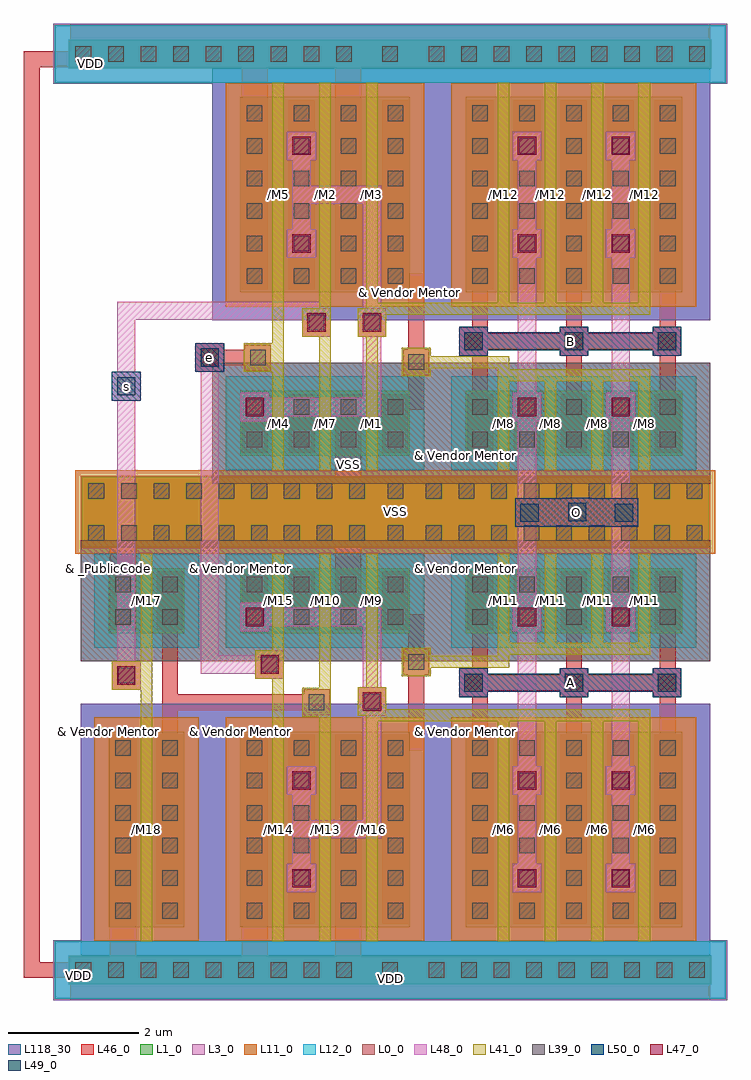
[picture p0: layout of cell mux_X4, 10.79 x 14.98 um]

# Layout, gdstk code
import gdstk
lib = gdstk.Library(unit=1e-6, precision=1e-09)
def R(c, l, rs):  # rectangles x0, y0, x1, y1
    for r in rs: c.add(gdstk.rectangle(r[:2], r[2:], *l))
def A(c, l, x, y, w, h, nx, ny, dx, dy):  # array of equal rectangles
    R(c, l, [(x+i*dx, y+j*dy, x+i*dx+w, y+j*dy+h) for i in range(nx) for j in range(ny)])
def P(c, l, *ps):  # polygons
    for p in ps: c.add(gdstk.Polygon(p, *l))
L0_0 = (0, 0)
L1_0 = (1, 0)
L3_0 = (3, 0)
L11_0 = (11, 0)
L12_0 = (12, 0)
L39_0 = (39, 0)
L41_0 = (41, 0)
L46_0 = (46, 0)
L47_0 = (47, 0)
L48_0 = (48, 0)
L49_0 = (49, 0)
L50_0 = (50, 0)
L118_30 = (118, 30)

m2m3 = lib.new_cell('M2M3')
R(m2m3, L48_0, [(-0.22,-0.22,0.22,0.22)])
R(m2m3, L49_0, [(-0.14,-0.14,0.14,0.14)])
R(m2m3, L50_0, [(-0.22,-0.22,0.22,0.22)])

m1m2 = lib.new_cell('M1M2')
R(m1m2, L46_0, [(-0.22,-0.22,0.22,0.22)])
R(m1m2, L47_0, [(-0.14,-0.14,0.14,0.14)])
R(m1m2, L48_0, [(-0.22,-0.22,0.22,0.22)])

mpoly = lib.new_cell('MPOLY')
R(mpoly, L39_0, [(-0.12,-0.12,0.12,0.12)])
R(mpoly, L41_0, [(-0.22,-0.22,0.22,0.22)])
R(mpoly, L46_0, [(-0.2,-0.2,0.2,0.2)])

mux_x4 = lib.new_cell('mux_X4')
R(mux_x4, L0_0, [(11.61,-2.33,13.63,-0.47), (13.63,-2.33,17.09,-0.47), (17.09,-2.33,21.27,-0.47), (13.63,0.39,17.09,2.25), (17.09,0.39,21.27,2.25)])
R(mux_x4, L1_0, [(11.43,-7.29,21.29,-6.85), (12.04,-6.41,13.2,-3.41), (12.04,-6.41,12.53,-3.41), (12.71,-6.41,13.2,-3.41), (14.06,-6.41,14.55,-3.41), (14.06,-6.41,16.66,-3.41), (16.17,-6.41,16.66,-3.41), (17.52,-6.41,18.01,-3.41), (17.52,-6.41,20.84,-3.41), (20.35,-6.41,20.84,-3.41), (12.04,-1.9,12.53,-0.9), (12.04,-1.9,13.2,-0.9), (12.71,-1.9,13.2,-0.9), (14.06,-1.9,16.66,-0.9), (14.06,-1.9,14.55,-0.9), (16.17,-1.9,16.66,-0.9), (17.52,-1.9,18.01,-0.9), (17.52,-1.9,20.84,-0.9), (20.35,-1.9,20.84,-0.9), (11.63,-0.58,21.25,-0.14), (11.63,-0.14,21.25,0.06), (11.63,0.06,21.25,0.5), (14.06,0.82,16.66,1.82), (14.06,0.82,14.55,1.82), (16.17,0.82,16.66,1.82), (17.52,0.82,18.01,1.82), (17.52,0.82,20.84,1.82), (20.35,0.82,20.84,1.82), (14.06,3.33,14.55,6.33), (14.06,3.33,16.66,6.33), (16.17,3.33,16.66,6.33), (17.52,3.33,18.01,6.33), (17.52,3.33,20.84,6.33), (20.35,3.33,20.84,6.33), (11.43,6.77,21.29,7.21)])
R(mux_x4, L3_0, [(11.19,-7.53,21.53,-6.61), (11.61,-6.84,13.63,-2.98), (13.63,-6.84,17.09,-2.98), (17.09,-6.84,21.27,-2.98), (13.63,2.9,17.09,6.76), (17.09,2.9,21.27,6.76), (11.19,6.53,21.53,7.45)])
R(mux_x4, L11_0, [(11.82,-6.63,13.42,-3.19), (13.84,-6.63,16.88,-3.19), (17.3,-6.63,21.06,-3.19), (11.53,-0.68,21.35,-0.04), (11.53,-0.04,21.35,0.6), (13.84,3.11,16.88,6.55), (17.3,3.11,21.06,6.55)])
R(mux_x4, L12_0, [(11.21,-7.51,21.51,-6.63), (11.82,-2.12,13.42,-0.68), (13.84,-2.12,16.88,-0.68), (17.3,-2.12,21.06,-0.68), (13.84,0.6,16.88,2.04), (17.3,0.6,21.06,2.04), (11.21,6.55,21.51,7.43)])
A(mux_x4, L39_0, 11.53, -7.19, 0.24, 0.24, 9, 2, 0.5, 14.06)
A(mux_x4, L39_0, 16.95, -7.19, 0.24, 0.24, 9, 2, 0.5, 14.06)
A(mux_x4, L39_0, 12.14, -6.28, 0.24, 0.24, 1, 6, 0, 0.5)
A(mux_x4, L39_0, 12.86, -6.28, 0.24, 0.24, 1, 6, 0, 0.5)
A(mux_x4, L39_0, 14.16, -6.28, 0.24, 0.24, 4, 6, 0.72, 0.5)
A(mux_x4, L39_0, 17.62, -6.28, 0.24, 0.24, 5, 6, 0.72, 0.5)
A(mux_x4, L39_0, 14.16, -1.77, 0.24, 0.24, 4, 2, 0.72, 0.5)
A(mux_x4, L39_0, 17.62, -1.77, 0.24, 0.24, 5, 2, 0.72, 0.5)
A(mux_x4, L39_0, 11.73, -0.48, 0.24, 0.24, 9, 2, 0.5, 0.64)
A(mux_x4, L39_0, 16.91, -0.48, 0.24, 0.24, 9, 2, 0.5, 0.64)
A(mux_x4, L39_0, 14.16, 0.95, 0.24, 0.24, 4, 2, 0.72, 0.5)
A(mux_x4, L39_0, 17.62, 0.95, 0.24, 0.24, 5, 2, 0.72, 0.5)
A(mux_x4, L39_0, 14.16, 3.46, 0.24, 0.24, 4, 6, 0.72, 0.5)
A(mux_x4, L39_0, 17.62, 3.46, 0.24, 0.24, 5, 6, 0.72, 0.5)
R(mux_x4, L39_0, [(16.24,-7.19,16.48,-6.95), (12.14,-1.77,12.38,-1.53), (12.86,-1.77,13.1,-1.53), (12.14,-1.27,12.38,-1.03), (12.86,-1.27,13.1,-1.03), (16.32,-0.48,16.56,-0.24), (16.32,0.16,16.56,0.4), (16.24,6.87,16.48,7.11)])
A(mux_x4, L41_0, 14.55, -6.63, 0.18, 0.22, 3, 2, 0.72, 3.22)
A(mux_x4, L41_0, 18.01, -6.63, 0.18, 0.22, 4, 2, 0.72, 3.22)
A(mux_x4, L41_0, 14.55, -6.41, 0.18, 3, 3, 2, 0.72, 9.74)
A(mux_x4, L41_0, 18.01, -6.41, 0.18, 3, 4, 2, 0.72, 9.74)
A(mux_x4, L41_0, 14.55, -2.12, 0.18, 0.22, 3, 2, 0.72, 1.22)
A(mux_x4, L41_0, 18.01, -2.12, 0.18, 0.22, 4, 2, 0.72, 1.22)
A(mux_x4, L41_0, 14.55, -1.9, 0.18, 1, 3, 2, 0.72, 2.72)
A(mux_x4, L41_0, 18.01, -1.9, 0.18, 1, 4, 2, 0.72, 2.72)
A(mux_x4, L41_0, 14.55, 0.6, 0.18, 0.22, 3, 2, 0.72, 1.22)
A(mux_x4, L41_0, 18.01, 0.6, 0.18, 0.22, 4, 2, 0.72, 1.22)
A(mux_x4, L41_0, 14.55, 3.11, 0.18, 0.22, 3, 2, 0.72, 3.22)
A(mux_x4, L41_0, 18.01, 3.11, 0.18, 0.22, 4, 2, 0.72, 3.22)
R(mux_x4, L41_0, [(12.53,-6.63,12.71,-6.41), (12.53,-6.41,12.71,-3.41), (12.53,-3.41,12.71,-3.19), (12.53,-3.37,12.71,-1.94), (14.55,-3.37,14.73,-1.94), (15.27,-3.37,15.45,-1.94), (15.99,-3.37,16.17,-3.07), (12.53,-2.12,12.71,-1.9), (12.53,-1.9,12.71,-0.9), (12.53,-0.9,12.71,-0.68), (14.55,1.86,14.73,3.29), (15.27,1.86,15.45,3.29), (15.99,2.99,16.17,3.29)])
P(mux_x4, L41_0, [(15.99,-3.25),(18.01,-3.25),(18.01,-3.37),(18.19,-3.37),(18.19,-3.25),(18.73,-3.25),(18.73,-3.37),(18.91,-3.37),(18.91,-3.25),(19.45,-3.25),(19.45,-3.37),(19.63,-3.37),(19.63,-3.25),(20.17,-3.25),(20.17,-3.37),(20.35,-3.37),(20.35,-3.07),(16.17,-3.07),(16.17,-1.94),(15.99,-1.94)],
  [(18.01,1.86),(18.19,1.86),(18.19,1.97),(18.73,1.97),(18.73,1.86),(18.91,1.86),(18.91,1.97),(19.45,1.97),(19.45,1.86),(19.63,1.86),(19.63,1.97),(20.17,1.97),(20.17,1.86),(20.35,1.86),(20.35,2.15),(18.01,2.15)],
  [(15.99,1.86),(16.17,1.86),(16.17,2.99),(20.35,2.99),(20.35,3.29),(20.17,3.29),(20.17,3.17),(19.63,3.17),(19.63,3.29),(19.45,3.29),(19.45,3.17),(18.91,3.17),(18.91,3.29),(18.73,3.29),(18.73,3.17),(18.19,3.17),(18.19,3.29),(18.01,3.29),(18.01,3.17),(15.99,3.17)],
  [(16.67,2.17),(18.01,2.17),(18.01,1.97),(18.19,1.97),(18.19,2.35),(16.67,2.35)],
  [(16.67,-2.43),(18.19,-2.43),(18.19,-2.23),(20.35,-2.23),(20.35,-1.94),(20.17,-1.94),(20.17,-2.05),(19.63,-2.05),(19.63,-1.94),(19.45,-1.94),(19.45,-2.05),(18.91,-2.05),(18.91,-1.94),(18.73,-1.94),(18.73,-2.05),(18.19,-2.05),(18.19,-1.94),(18.01,-1.94),(18.01,-2.25),(16.67,-2.25)])
A(mux_x4, L46_0, 14.08, -6.36, 0.4, 2.9, 4, 2, 0.72, 9.74)
A(mux_x4, L46_0, 17.54, -6.36, 0.4, 2.9, 5, 2, 0.72, 9.74)
A(mux_x4, L46_0, 14.08, -1.85, 0.4, 0.9, 4, 2, 0.72, 2.72)
A(mux_x4, L46_0, 17.54, -1.85, 0.4, 0.9, 5, 2, 0.72, 2.72)
R(mux_x4, L46_0, [(11.45,-7.53,21.27,-6.87), (11.45,-7.27,21.27,-6.87), (12.06,-7.27,12.46,-5.96), (14.08,-7.27,14.48,-5.96), (15.52,-7.27,15.92,-5.96), (12.06,-6.36,12.46,-3.46), (12.78,-6.36,13.18,-3.46), (12.06,-1.85,12.46,-0.95), (12.78,-1.85,13.18,-0.95), (12.06,-1.35,12.46,-0.2), (15.52,-1.35,15.92,-0.2), (11.61,-0.6,21.27,-0.12), (11.61,-0.6,21.27,0.52), (11.61,0.04,21.27,0.52), (15.52,0.12,15.92,1.27), (13.47,2.21,14.45,2.45), (14.08,5.88,14.48,7.19), (15.52,5.88,15.92,7.19), (11.45,6.79,21.27,7.19), (11.45,6.79,21.27,7.45)])
P(mux_x4, L46_0, [(16.4,-1.85),(16.64,-1.85),(16.64,-3.46),(16.4,-3.46),(16.4,-3.7),(16.88,-3.7),(16.88,-1.61),(16.4,-1.61)],
  [(12.86,-3.7),(13.1,-3.7),(13.1,-3.08),(15.35,-3.08),(15.35,-2.84),(13.1,-2.84),(13.1,-1.61),(12.86,-1.61)],
  [(17.62,1.53),(17.86,1.53),(17.86,2.46),(19.06,2.46),(19.06,1.53),(19.3,1.53),(19.3,2.46),(20.5,2.46),(20.5,1.53),(20.74,1.53),(20.74,3.62),(20.5,3.62),(20.5,2.7),(19.3,2.7),(19.3,3.62),(19.06,3.62),(19.06,2.7),(17.86,2.7),(17.86,3.62),(17.62,3.62)],
  [(17.62,-3.7),(17.86,-3.7),(17.86,-2.78),(19.06,-2.78),(19.06,-3.7),(19.3,-3.7),(19.3,-2.78),(20.5,-2.78),(20.5,-3.7),(20.74,-3.7),(20.74,-1.61),(20.5,-1.61),(20.5,-2.54),(19.3,-2.54),(19.3,-1.61),(19.06,-1.61),(19.06,-2.54),(17.86,-2.54),(17.86,-1.61),(17.62,-1.61)],
  [(16.4,1.53),(16.88,1.53),(16.88,2.38),(16.64,2.38),(16.64,1.77),(16.4,1.77)],
  [(16.4,3.38),(16.64,3.38),(16.64,2.14),(16.88,2.14),(16.88,3.62),(16.4,3.62)],
  [(10.74,-7.19),(11.69,-7.19),(11.69,-6.95),(10.98,-6.95),(10.98,6.79),(11.69,6.79),(11.69,7.03),(10.74,7.03)])
R(mux_x4, L48_0, [(18.32,3.94,18.6,5.72), (19.76,3.94,20.04,5.72), (14.86,4.69,15.14,5.72)])
P(mux_x4, L48_0, [(14.14,-1.79),(15.94,-1.79),(15.94,-4.77),(15.14,-4.77),(15.14,-4.02),(14.86,-4.02),(14.86,-5.8),(15.14,-5.8),(15.14,-5.05),(16.22,-5.05),(16.22,-1.51),(14.14,-1.51)],
  [(13.45,-2.52),(14.65,-2.52),(14.65,-2.24),(13.73,-2.24),(13.73,2.47),(13.45,2.47)],
  [(14.86,3.94),(15.14,3.94),(15.14,4.69),(15.94,4.69),(15.94,2.73),(16.22,2.73),(16.22,4.97),(14.86,4.97)],
  [(14.14,1.43),(16.22,1.43),(16.22,3.01),(15.94,3.01),(15.94,1.71),(14.14,1.71)],
  [(18.32,-5.8),(18.6,-5.8),(18.6,-0.24),(19.76,-0.24),(19.76,-5.8),(20.04,-5.8),(20.04,4.22),(19.76,4.22),(19.76,0.16),(18.6,0.16),(18.6,4.22),(18.32,4.22)],
  [(12.17,-2.69),(12.45,-2.69),(12.45,2.91),(15.01,2.91),(15.01,2.73),(15.29,2.73),(15.29,3.19),(12.17,3.19)])
R(mux_x4, L50_0, [(17.5,-2.8,20.75,-2.52), (18.28,-0.27,20.17,0.17), (12.09,1.67,12.53,2.11), (13.37,2.11,13.81,2.55), (17.5,2.44,20.75,2.72)])
R(mux_x4, L118_30, [(11.61,-6.84,13.63,-2.98), (13.63,-6.84,17.09,-2.98), (17.09,-6.84,21.27,-2.98), (11.61,-2.33,13.63,-0.47), (13.63,-2.33,17.09,-0.47), (17.09,-2.33,21.27,-0.47), (13.63,0.39,17.09,2.25), (17.09,0.39,21.27,2.25), (13.63,2.9,17.09,6.76), (17.09,2.9,21.27,6.76)])
mux_x4.add(gdstk.Reference(m2m3, (18.5,-0.05)))
mux_x4.add(gdstk.Reference(m2m3, (17.64,-2.66)))
mux_x4.add(gdstk.Reference(m1m2, (17.64,-2.66)))
mux_x4.add(gdstk.Reference(m2m3, (19.95,-0.05)))
mux_x4.add(gdstk.Reference(m1m2, (14.28,1.57)))
mux_x4.add(gdstk.Reference(m2m3, (19.23,-0.04)))
mux_x4.add(gdstk.Reference(m1m2, (15.23,2.87)))
mux_x4.add(gdstk.Reference(m1m2, (13.59,2.33)))
mux_x4.add(gdstk.Reference(m1m2, (12.31,-2.55)))
mux_x4.add(gdstk.Reference(m2m3, (13.59,2.33)))
mux_x4.add(gdstk.Reference(m2m3, (12.31,1.89)))
mux_x4.add(gdstk.Reference(m1m2, (17.64,2.58)))
mux_x4.add(gdstk.Reference(m2m3, (17.64,2.58)))
mux_x4.add(gdstk.Reference(m1m2, (19.18,2.58)))
mux_x4.add(gdstk.Reference(m2m3, (19.18,2.58)))
mux_x4.add(gdstk.Reference(m2m3, (20.61,2.58)))
mux_x4.add(gdstk.Reference(m1m2, (20.61,2.58)))
mux_x4.add(gdstk.Reference(m1m2, (20.61,-2.66)))
mux_x4.add(gdstk.Reference(m2m3, (20.61,-2.66)))
mux_x4.add(gdstk.Reference(m2m3, (19.18,-2.66)))
mux_x4.add(gdstk.Reference(m1m2, (19.18,-2.66)))
mux_x4.add(gdstk.Reference(m1m2, (19.9,-1.65), x_reflection=True))
mux_x4.add(gdstk.Reference(mpoly, (16.08,-2.95), x_reflection=True))
mux_x4.add(gdstk.Reference(m1m2, (18.46,4.08)))
mux_x4.add(gdstk.Reference(m1m2, (19.9,-5.66), x_reflection=True))
mux_x4.add(gdstk.Reference(mpoly, (16.76,-2.34), x_reflection=True))
mux_x4.add(gdstk.Reference(m1m2, (18.46,-1.65), x_reflection=True))
mux_x4.add(gdstk.Reference(m1m2, (19.9,-4.16), x_reflection=True))
mux_x4.add(gdstk.Reference(m1m2, (18.46,-4.16), x_reflection=True))
mux_x4.add(gdstk.Reference(m1m2, (18.46,1.57)))
mux_x4.add(gdstk.Reference(mpoly, (15.23,-2.96)))
mux_x4.add(gdstk.Reference(mpoly, (14.51,-2.38)))
mux_x4.add(gdstk.Reference(mpoly, (12.31,-2.55)))
mux_x4.add(gdstk.Reference(m1m2, (14.51,-2.38)))
mux_x4.add(gdstk.Reference(mpoly, (14.33,2.33)))
mux_x4.add(gdstk.Reference(mpoly, (15.23,2.87)))
mux_x4.add(gdstk.Reference(m1m2, (16.08,-2.95), x_reflection=True))
mux_x4.add(gdstk.Reference(m1m2, (15,-4.16), x_reflection=True))
mux_x4.add(gdstk.Reference(m1m2, (15,-5.66), x_reflection=True))
mux_x4.add(gdstk.Reference(m1m2, (14.28,-1.65), x_reflection=True))
mux_x4.add(gdstk.Reference(m1m2, (19.9,4.08)))
mux_x4.add(gdstk.Reference(m1m2, (18.46,-5.66), x_reflection=True))
mux_x4.add(gdstk.Reference(m1m2, (19.9,1.57)))
mux_x4.add(gdstk.Reference(m1m2, (18.46,5.58)))
mux_x4.add(gdstk.Reference(m1m2, (19.9,5.58)))
mux_x4.add(gdstk.Reference(mpoly, (16.76,2.26)))
mux_x4.add(gdstk.Reference(mpoly, (16.08,2.87)))
mux_x4.add(gdstk.Reference(m1m2, (16.08,2.87)))
mux_x4.add(gdstk.Reference(m1m2, (15,4.08)))
mux_x4.add(gdstk.Reference(m1m2, (15,5.58)))
mux_x4.add(gdstk.Label('/M18', (12.62,-4.91), layer=85, texttype=0))
mux_x4.add(gdstk.Label('& Vendor Mentor', (12.04,-3.41), layer=63, texttype=63))
mux_x4.add(gdstk.Label('& Product UMC180FDKMFM', (12.04,-3.41), layer=63, texttype=63))
mux_x4.add(gdstk.Label('& Version A01', (12.04,-3.41), layer=63, texttype=63))
mux_x4.add(gdstk.Label('& Metric 0', (12.04,-3.41), layer=63, texttype=63))
mux_x4.add(gdstk.Label('& _PublicCode', (12.04,-3.41), layer=63, texttype=63))
mux_x4.add(gdstk.Label('/M15', (14.64,-1.4), layer=85, texttype=0))
mux_x4.add(gdstk.Label('/M10', (15.36,-1.4), layer=85, texttype=0))
mux_x4.add(gdstk.Label('/M9', (16.08,-1.4), layer=85, texttype=0))
mux_x4.add(gdstk.Label('& Vendor Mentor', (14.06,-0.9), layer=63, texttype=63))
mux_x4.add(gdstk.Label('& Product UMC180FDKMFM', (14.06,-0.9), layer=63, texttype=63))
mux_x4.add(gdstk.Label('& Version A01', (14.06,-0.9), layer=63, texttype=63))
mux_x4.add(gdstk.Label('& Metric 0', (14.06,-0.9), layer=63, texttype=63))
mux_x4.add(gdstk.Label('& _PublicCode', (14.06,-0.9), layer=63, texttype=63))
mux_x4.add(gdstk.Label('/M6', (18.1,-4.91), layer=85, texttype=0))
mux_x4.add(gdstk.Label('/M6', (18.82,-4.91), layer=85, texttype=0))
mux_x4.add(gdstk.Label('/M6', (19.54,-4.91), layer=85, texttype=0))
mux_x4.add(gdstk.Label('/M6', (20.26,-4.91), layer=85, texttype=0))
mux_x4.add(gdstk.Label('& Vendor Mentor', (17.52,-3.41), layer=63, texttype=63))
mux_x4.add(gdstk.Label('& Product UMC180FDKMFM', (17.52,-3.41), layer=63, texttype=63))
mux_x4.add(gdstk.Label('& Version A01', (17.52,-3.41), layer=63, texttype=63))
mux_x4.add(gdstk.Label('& Metric 0', (17.52,-3.41), layer=63, texttype=63))
mux_x4.add(gdstk.Label('& _PublicCode', (17.52,-3.41), layer=63, texttype=63))
mux_x4.add(gdstk.Label('/M11', (18.1,-1.4), layer=85, texttype=0))
mux_x4.add(gdstk.Label('/M11', (18.82,-1.4), layer=85, texttype=0))
mux_x4.add(gdstk.Label('/M11', (19.54,-1.4), layer=85, texttype=0))
mux_x4.add(gdstk.Label('/M11', (20.26,-1.4), layer=85, texttype=0))
mux_x4.add(gdstk.Label('& Vendor Mentor', (17.52,-0.9), layer=63, texttype=63))
mux_x4.add(gdstk.Label('& Product UMC180FDKMFM', (17.52,-0.9), layer=63, texttype=63))
mux_x4.add(gdstk.Label('& Version A01', (17.52,-0.9), layer=63, texttype=63))
mux_x4.add(gdstk.Label('& Metric 0', (17.52,-0.9), layer=63, texttype=63))
mux_x4.add(gdstk.Label('& _PublicCode', (17.52,-0.9), layer=63, texttype=63))
mux_x4.add(gdstk.Label('/M3', (16.08,4.83), layer=85, texttype=0))
mux_x4.add(gdstk.Label('/M2', (15.36,4.83), layer=85, texttype=0))
mux_x4.add(gdstk.Label('/M5', (14.64,4.83), layer=85, texttype=0))
mux_x4.add(gdstk.Label('& Vendor Mentor', (16.66,3.33), layer=63, texttype=63))
mux_x4.add(gdstk.Label('& Product UMC180FDKMFM', (16.66,3.33), layer=63, texttype=63))
mux_x4.add(gdstk.Label('& Version A01', (16.66,3.33), layer=63, texttype=63))
mux_x4.add(gdstk.Label('& Metric 0', (16.66,3.33), layer=63, texttype=63))
mux_x4.add(gdstk.Label('& _PublicCode', (16.66,3.33), layer=63, texttype=63))
mux_x4.add(gdstk.Label('/M12', (18.1,4.83), layer=85, texttype=0))
mux_x4.add(gdstk.Label('/M12', (18.82,4.83), layer=85, texttype=0))
mux_x4.add(gdstk.Label('/M12', (19.54,4.83), layer=85, texttype=0))
mux_x4.add(gdstk.Label('/M12', (20.26,4.83), layer=85, texttype=0))
mux_x4.add(gdstk.Label('& Vendor Mentor', (17.52,3.33), layer=63, texttype=63))
mux_x4.add(gdstk.Label('& Product UMC180FDKMFM', (17.52,3.33), layer=63, texttype=63))
mux_x4.add(gdstk.Label('& Version A01', (17.52,3.33), layer=63, texttype=63))
mux_x4.add(gdstk.Label('& Metric 0', (17.52,3.33), layer=63, texttype=63))
mux_x4.add(gdstk.Label('& _PublicCode', (17.52,3.33), layer=63, texttype=63))
mux_x4.add(gdstk.Label('/M8', (18.1,1.32), layer=85, texttype=0))
mux_x4.add(gdstk.Label('/M8', (18.82,1.32), layer=85, texttype=0))
mux_x4.add(gdstk.Label('/M8', (19.54,1.32), layer=85, texttype=0))
mux_x4.add(gdstk.Label('/M8', (20.26,1.32), layer=85, texttype=0))
mux_x4.add(gdstk.Label('& Vendor Mentor', (17.52,0.82), layer=63, texttype=63))
mux_x4.add(gdstk.Label('& Product UMC180FDKMFM', (17.52,0.82), layer=63, texttype=63))
mux_x4.add(gdstk.Label('& Version A01', (17.52,0.82), layer=63, texttype=63))
mux_x4.add(gdstk.Label('& Metric 0', (17.52,0.82), layer=63, texttype=63))
mux_x4.add(gdstk.Label('& _PublicCode', (17.52,0.82), layer=63, texttype=63))
mux_x4.add(gdstk.Label('/M14', (14.64,-4.91), layer=85, texttype=0))
mux_x4.add(gdstk.Label('/M13', (15.36,-4.91), layer=85, texttype=0))
mux_x4.add(gdstk.Label('/M16', (16.08,-4.91), layer=85, texttype=0))
mux_x4.add(gdstk.Label('& Vendor Mentor', (14.06,-3.41), layer=63, texttype=63))
mux_x4.add(gdstk.Label('& Product UMC180FDKMFM', (14.06,-3.41), layer=63, texttype=63))
mux_x4.add(gdstk.Label('& Version A01', (14.06,-3.41), layer=63, texttype=63))
mux_x4.add(gdstk.Label('& Metric 0', (14.06,-3.41), layer=63, texttype=63))
mux_x4.add(gdstk.Label('& _PublicCode', (14.06,-3.41), layer=63, texttype=63))
mux_x4.add(gdstk.Label('& _PublicCode', (12.04,-0.9), layer=63, texttype=63))
mux_x4.add(gdstk.Label('/M17', (12.62,-1.4), layer=85, texttype=0))
mux_x4.add(gdstk.Label('& Vendor Mentor', (12.04,-0.9), layer=63, texttype=63))
mux_x4.add(gdstk.Label('& Product UMC180FDKMFM', (12.04,-0.9), layer=63, texttype=63))
mux_x4.add(gdstk.Label('& Version A01', (12.04,-0.9), layer=63, texttype=63))
mux_x4.add(gdstk.Label('& Metric 0', (12.04,-0.9), layer=63, texttype=63))
mux_x4.add(gdstk.Label('/M1', (16.08,1.32), layer=85, texttype=0))
mux_x4.add(gdstk.Label('/M7', (15.36,1.32), layer=85, texttype=0))
mux_x4.add(gdstk.Label('/M4', (14.64,1.32), layer=85, texttype=0))
mux_x4.add(gdstk.Label('& Vendor Mentor', (16.66,0.82), layer=63, texttype=63))
mux_x4.add(gdstk.Label('& Product UMC180FDKMFM', (16.66,0.82), layer=63, texttype=63))
mux_x4.add(gdstk.Label('& Version A01', (16.66,0.82), layer=63, texttype=63))
mux_x4.add(gdstk.Label('& Metric 0', (16.66,0.82), layer=63, texttype=63))
mux_x4.add(gdstk.Label('& _PublicCode', (16.66,0.82), layer=63, texttype=63))
mux_x4.add(gdstk.Label('VSS', (16.44,-0.04), layer=101, texttype=0))
mux_x4.add(gdstk.Label('VSS', (15.72,0.695), layer=101, texttype=0))
mux_x4.add(gdstk.Label('VDD', (11.57,-7.15), layer=101, texttype=0))
mux_x4.add(gdstk.Label('VDD', (16.36,-7.2), layer=101, texttype=0))
mux_x4.add(gdstk.Label('VDD', (11.76,6.84), layer=101, texttype=0))
mux_x4.add(gdstk.Label('s', (12.31,1.89), layer=103, texttype=0))
mux_x4.add(gdstk.Label('e', (13.59,2.33), layer=103, texttype=0))
mux_x4.add(gdstk.Label('A', (19.125,-2.66), layer=103, texttype=0))
mux_x4.add(gdstk.Label('O', (19.225,-0.05), layer=103, texttype=0))
mux_x4.add(gdstk.Label('B', (19.125,2.58), layer=103, texttype=0))

lib.write_gds('mux_X4.gds')
